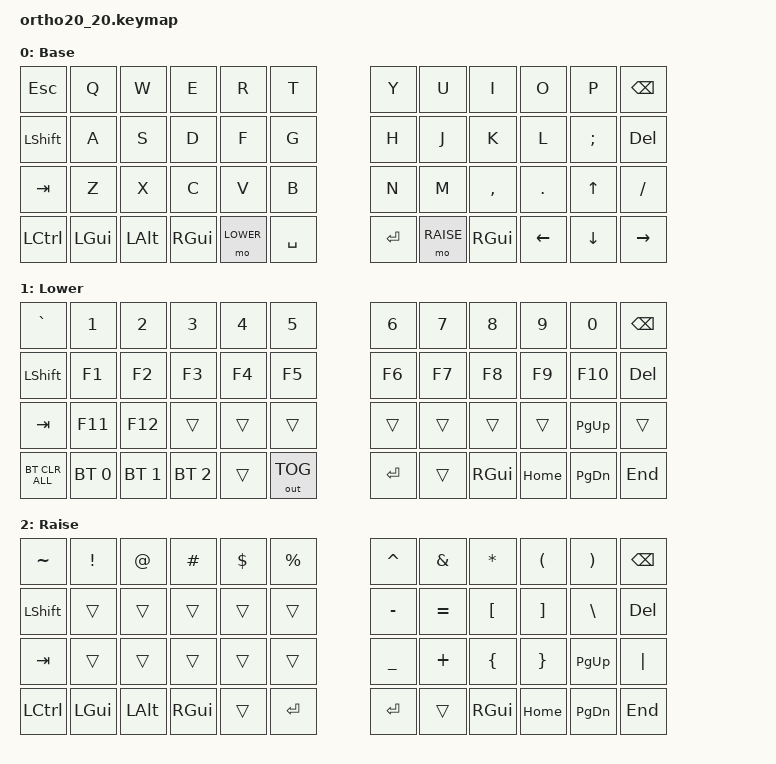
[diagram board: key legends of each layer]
#include <behaviors.dtsi>
#include <dt-bindings/zmk/keys.h>
#include <dt-bindings/zmk/bt.h>
#include <dt-bindings/zmk/outputs.h>

#define BASE 0
#define LOWER 1
#define RAISE 2

/ {
    combos {
        compatible = "zmk,combos";
        combo_studio_unlock {
            timeout-ms = <50>;
            key-positions = <40 43>;
            bindings = <&studio_unlock>;
        };
    };

    keymap {
        compatible = "zmk,keymap";

        default_layer {
            display-name = "Base";
            // -----------------------------------------------------------
            // | ESC | Q  | W  | E  | R  | T  | Y  | U  | I  | O  | P  | BSPC|
            // | SHF | A  | S  | D  | F  | G  | H  | J  | K  | L  | ;  | DEL |
            // | TAB | Z  | X  | C  | V  | B  | N  | M  | ,  | .  | UP | /   |
            // | CTL | WIN| ALT| WIN| LWR| SPC| ENT| RSE| GUI| LFT| DWN| RGT |
            // -----------------------------------------------------------
            bindings = <
                &kp ESC   &kp Q     &kp W     &kp E     &kp R     &kp T       &kp Y     &kp U     &kp I      &kp O     &kp P     &kp BSPC
                &kp LSHFT &kp A     &kp S     &kp D     &kp F     &kp G       &kp H     &kp J     &kp K      &kp L     &kp SEMI  &kp DEL
                &kp TAB   &kp Z     &kp X     &kp C     &kp V     &kp B       &kp N     &kp M     &kp COMMA  &kp DOT   &kp UP    &kp FSLH
                &kp LCTRL &kp LGUI  &kp LALT  &kp RGUI  &mo LOWER &kp SPACE   &kp RET   &mo RAISE &kp RGUI   &kp LEFT  &kp DOWN  &kp RIGHT
            >;
        };

        lower_layer {
            display-name = "Lower";
            // -----------------------------------------------------------
            // |  `  | 1  | 2  | 3  | 4  | 5  | 6  | 7  | 8  | 9  | 0  | BSPC|
            // | SHF | F1 | F2 | F3 | F4 | F5 | F6 | F7 | F8 | F9 | F10| DEL |
            // | TAB | F11| F12|    |    |    |    |    |    |    | PUP|    |
            // | CTL | WIN| ALT| WIN|    | ENT| ENT|    | GUI| HOM| PDN| END |
            // -----------------------------------------------------------
            bindings = <
                &kp GRAVE &kp N1    &kp N2    &kp N3    &kp N4    &kp N5      &kp N6    &kp N7    &kp N8     &kp N9    &kp N0    &kp BSPC
                &kp LSHFT &kp F1    &kp F2    &kp F3    &kp F4    &kp F5      &kp F6    &kp F7    &kp F8     &kp F9    &kp F10   &kp DEL
                &kp TAB   &kp F11   &kp F12   &trans    &trans    &trans      &trans    &trans    &trans     &trans    &kp PG_UP &trans
                &bt BT_CLR_ALL &bt BT_SEL 0 &bt BT_SEL 1 &bt BT_SEL 2 &trans    &out OUT_TOG &kp RET   &trans    &kp RGUI   &kp HOME  &kp PG_DN &kp END
            >;
        };

        raise_layer {
            display-name = "Raise";
            // -----------------------------------------------------------
            // |  ~  | !  | @  | #  | $  | %  | ^  | &  | *  | (  | )  | BSPC|
            // | SHF |    |    |    |    |    | -  | =  | [  | ]  | \  | DEL |
            // | TAB |    |    |    |    |    | _  | +  | {  | }  | PUP| |   |
            // | CTL | WIN| ALT| WIN|    | ENT| ENT|    | GUI| HOM| PDN| END |
            // -----------------------------------------------------------
            bindings = <
                &kp TILDE &kp EXCL  &kp AT    &kp HASH  &kp DLLR  &kp PRCNT   &kp CARET &kp AMPS  &kp STAR   &kp LPAR  &kp RPAR  &kp BSPC
                &kp LSHFT &trans    &trans    &trans    &trans    &trans      &kp MINUS &kp EQUAL &kp LBKT   &kp RBKT  &kp BSLH  &kp DEL
                &kp TAB   &trans    &trans    &trans    &trans    &trans      &kp UNDER &kp PLUS  &kp LBRC   &kp RBRC  &kp PG_UP &kp PIPE
                &kp LCTRL &kp LGUI  &kp LALT  &kp RGUI  &trans    &kp RET     &kp RET   &trans    &kp RGUI   &kp HOME  &kp PG_DN &kp END
            >;
        };
    };
};
